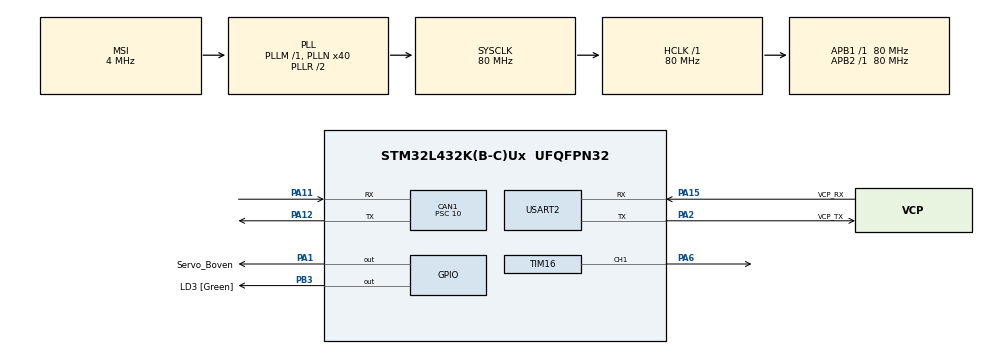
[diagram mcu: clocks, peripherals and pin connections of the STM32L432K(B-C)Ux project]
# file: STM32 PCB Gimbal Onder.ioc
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CAN1.BS1=CAN_BS1_13TQ
CAN1.BS2=CAN_BS2_2TQ
CAN1.CalculateBaudRate=500000
CAN1.CalculateTimeBit=2000
CAN1.CalculateTimeQuantum=125.0
CAN1.Prescaler=10
Mcu.Family=STM32L4
Mcu.Name=STM32L432K(B-C)Ux
Mcu.Package=UFQFPN32
NVIC.CAN1_RX0_IRQn=true\:0\:0\:false\:false\:true\:true\:true\:true
NVIC.CAN1_RX1_IRQn=true\:0\:0\:false\:false\:true\:true\:true\:true
NVIC.PriorityGroup=NVIC_PRIORITYGROUP_4
PA0.GPIO_Label=MCO [High speed clock in]
PA0.Mode=HSE-External-Clock-Source-for-LittleOrca
PA0.Signal=RCC_CK_IN
PA1.GPIO_Label=Servo_Boven
PA1.Signal=GPIO_Output
PA11.Mode=CAN_Activate
PA11.Signal=CAN1_RX
PA12.Mode=CAN_Activate
PA12.Signal=CAN1_TX
PA13\ (JTMS-SWDIO).GPIO_Label=SWDIO
PA13\ (JTMS-SWDIO).Mode=Serial_Wire
PA13\ (JTMS-SWDIO).Signal=SYS_JTMS-SWDIO
PA14\ (JTCK-SWCLK).GPIO_Label=SWCLK
PA14\ (JTCK-SWCLK).Mode=Serial_Wire
PA14\ (JTCK-SWCLK).Signal=SYS_JTCK-SWCLK
PA15\ (JTDI).GPIO_Label=VCP_RX
PA15\ (JTDI).Mode=Asynchronous
PA15\ (JTDI).Signal=USART2_RX
PA2.GPIO_Label=VCP_TX
PA2.Mode=Asynchronous
PA2.Signal=USART2_TX
PA6.Signal=S_TIM16_CH1
PB3\ (JTDO-TRACESWO).GPIO_Label=LD3 [Green]
PB3\ (JTDO-TRACESWO).Signal=GPIO_Output
PC14-OSC32_IN\ (PC14).Mode=LSE-External-Oscillator
PC14-OSC32_IN\ (PC14).Signal=RCC_OSC32_IN
PC15-OSC32_OUT\ (PC15).Mode=LSE-External-Oscillator
PC15-OSC32_OUT\ (PC15).Signal=RCC_OSC32_OUT
ProjectManager.HeapSize=0x200
ProjectManager.StackSize=0x400
ProjectManager.TargetToolchain=STM32CubeIDE
RCC.AHBFreq_Value=80000000
RCC.APB1Freq_Value=80000000
RCC.APB1TimFreq_Value=80000000
RCC.APB2Freq_Value=80000000
RCC.APB2TimFreq_Value=80000000
RCC.CortexFreq_Value=80000000
RCC.HCLKFreq_Value=80000000
RCC.HSE_VALUE=8000000
RCC.HSI16_VALUE=16000000
RCC.HSI48_VALUE=48000000
RCC.HSI_VALUE=16000000
RCC.MSI_VALUE=4000000
RCC.PLLMUL=RCC_PLLMUL_4
RCC.PLLN=40
RCC.SYSCLKFreq_VALUE=80000000
RCC.SYSCLKSource=RCC_SYSCLKSOURCE_PLLCLK
RCC.VCOOutputFreq_Value=160000000
SH.S_TIM16_CH1.0=TIM16_CH1,PWM Generation1 CH1
TIM16.Channel=TIM_CHANNEL_1
TIM16.Period=19999
TIM16.Prescaler=80-1
TIM16.Pulse=1500
USART2.VirtualMode-Asynchronous=VM_ASYNC
VP_TIM16_VS_ClockSourceINT.Mode=Enable_Timer
board=NUCLEO-L432KC

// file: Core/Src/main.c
/* USER CODE BEGIN Header */
/**
  ******************************************************************************
  * @file           : main.c
  * @brief          : Main program body
  ******************************************************************************
  * @attention
  *
  * Copyright (c) 2026 STMicroelectronics.
  * All rights reserved.
  *
  * This software is licensed under terms that can be found in the LICENSE file
  * in the root directory of this software component.
  * If no LICENSE file comes with this software, it is provided AS-IS.
  *
  ******************************************************************************
  */
/* USER CODE END Header */
#include "main.h"

/* USER CODE BEGIN PD */
#define CAN_ID_BRAND_ALARM 0x010
#define CAN_ID_SERVO_ONDER 0x230
/* USER CODE END PD */

CAN_HandleTypeDef hcan1;

TIM_HandleTypeDef htim16;

UART_HandleTypeDef huart2;

/* USER CODE BEGIN PV */
CAN_TxHeaderTypeDef TxHeader;
CAN_RxHeaderTypeDef RxHeader;
uint8_t             TxData[8];
uint8_t             RxData[8];
uint32_t            TxMailbox;

volatile uint8_t brandActief = 0;
volatile uint8_t doorOpen = 0;
uint16_t signal;
/* USER CODE END PV */

void SystemClock_Config(void);
static void MX_GPIO_Init(void);
static void MX_TIM16_Init(void);
static void MX_USART2_UART_Init(void);
static void MX_CAN1_Init(void);

int main(void)
{

  /* MCU Configuration--------------------------------------------------------*/

  /* Reset of all peripherals, Initializes the Flash interface and the Systick. */
  HAL_Init();

  /* Configure the system clock */
  SystemClock_Config();

  /* Initialize all configured peripherals */
  MX_GPIO_Init();
  MX_TIM16_Init();
  MX_USART2_UART_Init();
  MX_CAN1_Init();
  /* USER CODE BEGIN 2 */
  CAN_FilterTypeDef  sFilterConfig;
  HAL_TIM_PWM_Start(&htim16, TIM_CHANNEL_1); //De PWM voor de deur.

  // Configure Filter: Accept ALL messages (Mask 0)
  sFilterConfig.FilterBank = 0;
  sFilterConfig.FilterMode = CAN_FILTERMODE_IDMASK;
  sFilterConfig.FilterScale = CAN_FILTERSCALE_32BIT;
  sFilterConfig.FilterIdHigh = 0x0000;
  sFilterConfig.FilterIdLow = 0x0000;
  sFilterConfig.FilterMaskIdHigh = 0x0000;
  sFilterConfig.FilterMaskIdLow = 0x0000;
  sFilterConfig.FilterFIFOAssignment = CAN_RX_FIFO0;
  sFilterConfig.FilterActivation = ENABLE;
  sFilterConfig.SlaveStartFilterBank = 14;

  HAL_CAN_ConfigFilter(&hcan1, &sFilterConfig);
  HAL_CAN_Start(&hcan1); //Het starten van de CAN.
  HAL_CAN_ActivateNotification(&hcan1, CAN_IT_RX_FIFO0_MSG_PENDING); //Aanzetten van de interrupt.
  /* USER CODE END 2 */

  /* Infinite loop */
  while (1)
  {

    /* USER CODE BEGIN 3 */
	  if (doorOpen == 1)
      {
	  		char boot_msg[] = "Trigger\r\n"; //Debug melding dat deur getriggerd is.
	  		HAL_UART_Transmit(&huart2, (uint8_t*)boot_msg, strlen(boot_msg), 1000);
	  		HAL_Delay(3000); //Interrupt overruled wel deze delay.
	  		__HAL_TIM_SET_COMPARE(&htim16, TIM_CHANNEL_1, 1500);//Stuur de servo aan op timer 16 met de pulse lengte die de deur opent.
	  }

  }
  /* USER CODE END 3 */
}

void SystemClock_Config(void)
{
  RCC_OscInitTypeDef RCC_OscInitStruct = {0};
  RCC_ClkInitTypeDef RCC_ClkInitStruct = {0};

  /** Configure the main internal regulator output voltage
  */
  if (HAL_PWREx_ControlVoltageScaling(PWR_REGULATOR_VOLTAGE_SCALE1) != HAL_OK)
  {
    Error_Handler();
  }

  /** Configure LSE Drive Capability
  */
  HAL_PWR_EnableBkUpAccess();
  __HAL_RCC_LSEDRIVE_CONFIG(RCC_LSEDRIVE_LOW);

  /** Initializes the RCC Oscillators according to the specified parameters
  * in the RCC_OscInitTypeDef structure.
  */
  RCC_OscInitStruct.OscillatorType = RCC_OSCILLATORTYPE_LSE|RCC_OSCILLATORTYPE_MSI;
  RCC_OscInitStruct.LSEState = RCC_LSE_ON;
  RCC_OscInitStruct.MSIState = RCC_MSI_ON;
  RCC_OscInitStruct.MSICalibrationValue = 0;
  RCC_OscInitStruct.MSIClockRange = RCC_MSIRANGE_6;
  RCC_OscInitStruct.PLL.PLLState = RCC_PLL_ON;
  RCC_OscInitStruct.PLL.PLLSource = RCC_PLLSOURCE_MSI;
  RCC_OscInitStruct.PLL.PLLM = 1;
  RCC_OscInitStruct.PLL.PLLN = 40;
  RCC_OscInitStruct.PLL.PLLP = RCC_PLLP_DIV7;
  RCC_OscInitStruct.PLL.PLLQ = RCC_PLLQ_DIV2;
  RCC_OscInitStruct.PLL.PLLR = RCC_PLLR_DIV2;
  if (HAL_RCC_OscConfig(&RCC_OscInitStruct) != HAL_OK)
  {
    Error_Handler();
  }

  /** Initializes the CPU, AHB and APB buses clocks
  */
  RCC_ClkInitStruct.ClockType = RCC_CLOCKTYPE_HCLK|RCC_CLOCKTYPE_SYSCLK
                              |RCC_CLOCKTYPE_PCLK1|RCC_CLOCKTYPE_PCLK2;
  RCC_ClkInitStruct.SYSCLKSource = RCC_SYSCLKSOURCE_PLLCLK;
  RCC_ClkInitStruct.AHBCLKDivider = RCC_SYSCLK_DIV1;
  RCC_ClkInitStruct.APB1CLKDivider = RCC_HCLK_DIV1;
  RCC_ClkInitStruct.APB2CLKDivider = RCC_HCLK_DIV1;

  if (HAL_RCC_ClockConfig(&RCC_ClkInitStruct, FLASH_LATENCY_4) != HAL_OK)
  {
    Error_Handler();
  }

  /** Enable MSI Auto calibration
  */
  HAL_RCCEx_EnableMSIPLLMode();
}

static void MX_CAN1_Init(void)
{

  hcan1.Instance = CAN1;
  hcan1.Init.Prescaler = 10;
  hcan1.Init.Mode = CAN_MODE_NORMAL;
  hcan1.Init.SyncJumpWidth = CAN_SJW_1TQ;
  hcan1.Init.TimeSeg1 = CAN_BS1_13TQ;
  hcan1.Init.TimeSeg2 = CAN_BS2_2TQ;
  hcan1.Init.TimeTriggeredMode = DISABLE;
  hcan1.Init.AutoBusOff = DISABLE;
  hcan1.Init.AutoWakeUp = DISABLE;
  hcan1.Init.AutoRetransmission = DISABLE;
  hcan1.Init.ReceiveFifoLocked = DISABLE;
  hcan1.Init.TransmitFifoPriority = DISABLE;
  if (HAL_CAN_Init(&hcan1) != HAL_OK)
  {
    Error_Handler();
  }
  /* USER CODE BEGIN CAN1_Init 2 */
//  HAL_NVIC_SetPriority(CAN1_RX0_IRQn, 0, 0);
//  HAL_NVIC_EnableIRQ(CAN1_RX0_IRQn);

  /* USER CODE END CAN1_Init 2 */

}

static void MX_TIM16_Init(void)
{

  TIM_OC_InitTypeDef sConfigOC = {0};
  TIM_BreakDeadTimeConfigTypeDef sBreakDeadTimeConfig = {0};

  htim16.Instance = TIM16;
  htim16.Init.Prescaler = 80-1;
  htim16.Init.CounterMode = TIM_COUNTERMODE_UP;
  htim16.Init.Period = 19999;
  htim16.Init.ClockDivision = TIM_CLOCKDIVISION_DIV1;
  htim16.Init.RepetitionCounter = 0;
  htim16.Init.AutoReloadPreload = TIM_AUTORELOAD_PRELOAD_DISABLE;
  if (HAL_TIM_Base_Init(&htim16) != HAL_OK)
  {
    Error_Handler();
  }
  if (HAL_TIM_PWM_Init(&htim16) != HAL_OK)
  {
    Error_Handler();
  }
  sConfigOC.OCMode = TIM_OCMODE_PWM1;
  sConfigOC.Pulse = 1500;
  sConfigOC.OCPolarity = TIM_OCPOLARITY_HIGH;
  sConfigOC.OCNPolarity = TIM_OCNPOLARITY_HIGH;
  sConfigOC.OCFastMode = TIM_OCFAST_DISABLE;
  sConfigOC.OCIdleState = TIM_OCIDLESTATE_RESET;
  sConfigOC.OCNIdleState = TIM_OCNIDLESTATE_RESET;
  if (HAL_TIM_PWM_ConfigChannel(&htim16, &sConfigOC, TIM_CHANNEL_1) != HAL_OK)
  {
    Error_Handler();
  }
  sBreakDeadTimeConfig.OffStateRunMode = TIM_OSSR_DISABLE;
  sBreakDeadTimeConfig.OffStateIDLEMode = TIM_OSSI_DISABLE;
  sBreakDeadTimeConfig.LockLevel = TIM_LOCKLEVEL_OFF;
  sBreakDeadTimeConfig.DeadTime = 0;
  sBreakDeadTimeConfig.BreakState = TIM_BREAK_DISABLE;
  sBreakDeadTimeConfig.BreakPolarity = TIM_BREAKPOLARITY_HIGH;
  sBreakDeadTimeConfig.AutomaticOutput = TIM_AUTOMATICOUTPUT_DISABLE;
  if (HAL_TIMEx_ConfigBreakDeadTime(&htim16, &sBreakDeadTimeConfig) != HAL_OK)
  {
    Error_Handler();
  }
  HAL_TIM_MspPostInit(&htim16);

}

static void MX_USART2_UART_Init(void)
{

  huart2.Instance = USART2;
  huart2.Init.BaudRate = 115200;
  huart2.Init.WordLength = UART_WORDLENGTH_8B;
  huart2.Init.StopBits = UART_STOPBITS_1;
  huart2.Init.Parity = UART_PARITY_NONE;
  huart2.Init.Mode = UART_MODE_TX_RX;
  huart2.Init.HwFlowCtl = UART_HWCONTROL_NONE;
  huart2.Init.OverSampling = UART_OVERSAMPLING_16;
  huart2.Init.OneBitSampling = UART_ONE_BIT_SAMPLE_DISABLE;
  huart2.AdvancedInit.AdvFeatureInit = UART_ADVFEATURE_NO_INIT;
  if (HAL_UART_Init(&huart2) != HAL_OK)
  {
    Error_Handler();
  }

}

static void MX_GPIO_Init(void)
{
  GPIO_InitTypeDef GPIO_InitStruct = {0};

  /* GPIO Ports Clock Enable */
  __HAL_RCC_GPIOC_CLK_ENABLE();
  __HAL_RCC_GPIOA_CLK_ENABLE();
  __HAL_RCC_GPIOB_CLK_ENABLE();

  /*Configure GPIO pin Output Level */
  HAL_GPIO_WritePin(Servo_Boven_GPIO_Port, Servo_Boven_Pin, GPIO_PIN_RESET);

  /*Configure GPIO pin Output Level */
  HAL_GPIO_WritePin(LD3_GPIO_Port, LD3_Pin, GPIO_PIN_RESET);

  /*Configure GPIO pin : Servo_Boven_Pin */
  GPIO_InitStruct.Pin = Servo_Boven_Pin;
  GPIO_InitStruct.Mode = GPIO_MODE_OUTPUT_PP;
  GPIO_InitStruct.Pull = GPIO_NOPULL;
  GPIO_InitStruct.Speed = GPIO_SPEED_FREQ_LOW;
  HAL_GPIO_Init(Servo_Boven_GPIO_Port, &GPIO_InitStruct);

  /*Configure GPIO pin : LD3_Pin */
  GPIO_InitStruct.Pin = LD3_Pin;
  GPIO_InitStruct.Mode = GPIO_MODE_OUTPUT_PP;
  GPIO_InitStruct.Pull = GPIO_NOPULL;
  GPIO_InitStruct.Speed = GPIO_SPEED_FREQ_LOW;
  HAL_GPIO_Init(LD3_GPIO_Port, &GPIO_InitStruct);

}

/* USER CODE BEGIN 4 */
/**
 * @brief Opent de deur door de PWM waarde van Timer 16 in te stellen en zet de statusvariabele voor de deur op open.
 *
 */
void openDoor(signal)
{
	__HAL_TIM_SET_COMPARE(&htim16, TIM_CHANNEL_1, signal);//De deur opent zich ten grootte van het meegegeven signaal.
	doorOpen = 1;
}

/**
 * @brief Ontgrendelt de deur in brand door de PWM comparewaarde minimaal open te sturen en zet de status van de deur op open.
 *
 */
void unlockDoor()
{
    __HAL_TIM_SET_COMPARE(&htim16, TIM_CHANNEL_1, 1750);//Bij brand opent de deur een tikkie, om te simuleren dat deze van het slot is.
    doorOpen = 1;
}

/**
 * @brief Evalueert binnenkomende CAN berichten op FIFO 0 via een switch-case op ID niveau.
 *        Hierdoor worden direct noodgevallen (brand) of normale deurbedieningen (servo) aangestuurd.
 *
 * @param hcan Pointer naar de CAN configuratiestructuur van de actieve CAN bus.
 */
void HAL_CAN_RxFifo0MsgPendingCallback(CAN_HandleTypeDef *hcan)
{
    if (HAL_CAN_GetRxMessage(hcan, CAN_RX_FIFO0, &RxHeader, RxData) == HAL_OK)
    {
    	switch (RxHeader.StdId){
    		case CAN_ID_BRAND_ALARM:
    			if (RxData[0] == 0x01) //Als de meegegeven waarde 1 is.
                {
    				brandActief = 1; //Is er brand actief.
    				unlockDoor(RxData[0]); //En moet de deur van het slot.
    			}
                else if (RxData[0] == 0x00)
    				brandActief = 0; //Bij een doorgestuurde 0 van dit ID is de brandstatus opgeheven.

    			break; // Er hoeft niet verder gecheckt te worden bij brand

    		case CAN_ID_SERVO_ONDER:
    			if (RxData[1] == 1)
    				openDoor(2000); //Signal wordt nu 2000.
    			else if (RxData[1] == 2)
    				openDoor(900); //Signal wordt nu 900.

    			break;

    		default:
    			break;
    	}
    }
}

/* USER CODE END 4 */

void Error_Handler(void)
{
  __disable_irq();
  while (1)
  {
  }
}
